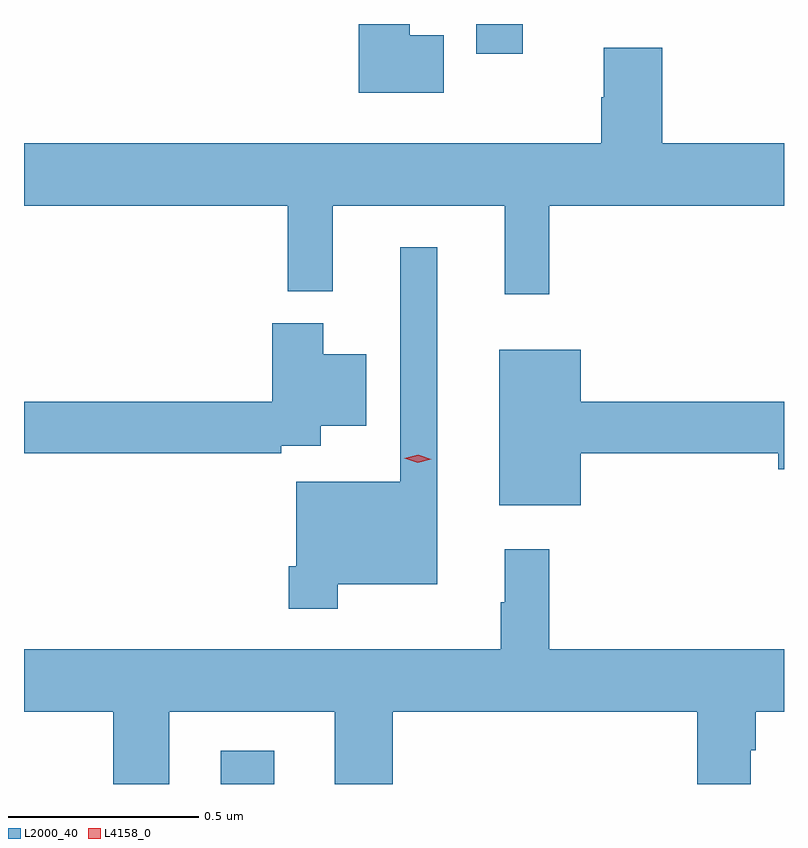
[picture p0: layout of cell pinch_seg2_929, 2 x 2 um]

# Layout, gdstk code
import gdstk
lib = gdstk.Library(unit=1e-6, precision=1e-09)
def R(c, l, rs):  # rectangles x0, y0, x1, y1
    for r in rs: c.add(gdstk.rectangle(r[:2], r[2:], *l))
def P(c, l, *ps):  # polygons
    for p in ps: c.add(gdstk.Polygon(p, *l))
L2000_40 = (2000, 40)
L4158_0 = (4158, 0)

pinch_seg2_929 = lib.new_cell('pinch_seg2_929')
R(pinch_seg2_929, L2000_40, [(408.743,655.438,408.883,655.525), (409.415,657.36,409.537,657.438)])
P(pinch_seg2_929, L2000_40, [(409.33,657.409),(409.24,657.409),(409.24,657.438),(409.106,657.438),(409.106,657.257),(409.33,657.257)],
  [(409.607,656.96),(410.225,656.96),(410.225,657.124),(409.904,657.124),(409.904,657.376),(409.751,657.376),(409.751,657.245),(409.744,657.245),(409.744,657.124),(408.225,657.124),(408.225,656.96),(408.919,656.96),(408.919,656.735),(409.037,656.735),(409.037,656.96),(409.49,656.96),(409.49,656.727),(409.607,656.727)],
  [(409.051,655.964),(409.312,655.964),(409.312,656.851),(409.215,656.851),(409.215,656.233),(408.942,656.233),(408.942,656.011),(408.922,656.011),(408.922,655.899),(409.051,655.899)],
  [(408.902,656.328),(409.006,656.328),(409.006,656.381),(409.126,656.381),(409.126,656.569),(409.012,656.569),(409.012,656.65),(408.878,656.65),(408.878,656.444),(408.225,656.444),(408.225,656.308),(408.902,656.308)],
  [(409.69,656.308),(410.21,656.308),(410.21,656.266),(410.225,656.266),(410.225,656.444),(409.69,656.444),(409.69,656.581),(409.475,656.581),(409.475,656.171),(409.69,656.171)],
  [(408.607,655.628),(409.043,655.628),(409.043,655.438),(409.196,655.438),(409.196,655.628),(409.997,655.628),(409.997,655.438),(410.137,655.438),(410.137,655.527),(410.15,655.527),(410.15,655.628),(410.225,655.628),(410.225,655.792),(409.607,655.792),(409.607,656.056),(409.49,656.056),(409.49,655.916),(409.479,655.916),(409.479,655.792),(408.225,655.792),(408.225,655.628),(408.46,655.628),(408.46,655.438),(408.607,655.438)])
P(pinch_seg2_929, L4158_0, [(409.261,656.284),(409.225,656.295),(409.225,656.295),(409.225,656.295),(409.262,656.304),(409.297,656.292),(409.297,656.292),(409.297,656.292)])

lib.write_gds('pinch_seg2_929.gds')
